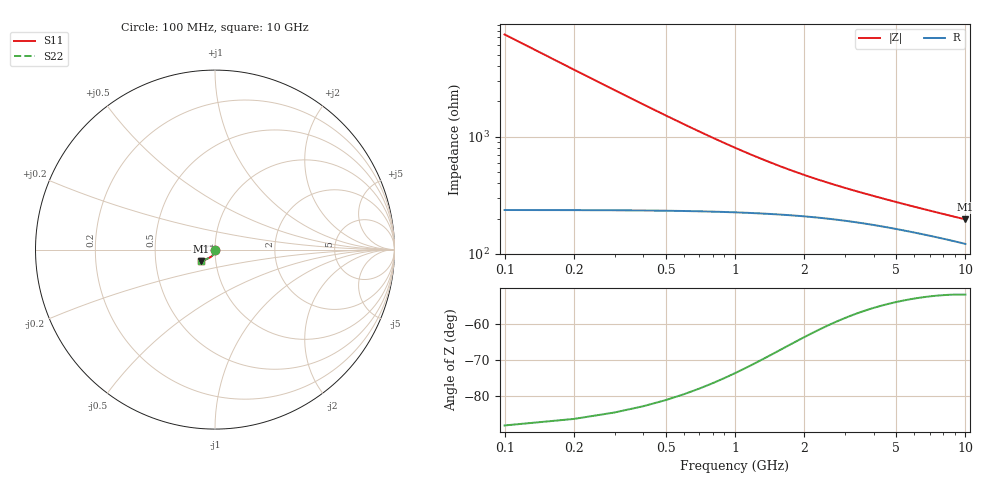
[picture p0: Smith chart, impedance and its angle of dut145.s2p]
! Touchstone file exported from HFSS 2024.1.0
!  File:  C:/UserFiles/LocalFiles/RDL_TSV_Batchsim/temp_TSV1_145_1778765710.aedt
!  Generated:  09:40:19 PM May 14, 2026
!  Design:  TSV1
!  Project:  temp_TSV1_145_1778765710
!  Setup:  Setup1
!  Solution:  Sweep
! Variables:
!  dtsv = 23.4um
!  hbump = 3um
!  htsv = 75.7um
!  lrdl = 252.1521522um
!  p = 40
!  p1 = 54.37um
!  t = 500um
!  trdl = 3um
!  wrdl = 24.89489489um
# GHz S MA R 50.000000
! Terminal data exported
! Port[1] = TSV22_T1
! Port[2] = TSV22_T2
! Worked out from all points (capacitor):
!   100 points, 100 MHz to 10 GHz, reference 50 ohm
!   read as one part in shunt: C = 214 fF near 100 MHz
!   lowest |Z| = 197 ohm at 10 GHz (marker M1)
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0.1  0.003105 -90.7  0.9998 -0.2  0.9998 -0.2  0.003105 -90.7
! Gamma 0 0 0 0
! Port Impedance 50 0 50 0
0.2  0.006193 -93.5  0.9995 -0.4  0.9995 -0.4  0.006193 -93.5
0.3  0.009248 -95.7  0.9989 -0.6  0.9989 -0.6  0.009248 -95.7
0.4  0.01225 -97.8  0.9981 -0.8  0.9981 -0.8  0.01225 -97.8
0.5  0.0152 -99.8  0.9971 -1.0  0.9971 -1.0  0.0152 -99.8
0.6  0.01807 -101.7  0.996 -1.2  0.996 -1.2  0.01807 -101.7
0.7  0.02085 -103.5  0.9948 -1.4  0.9948 -1.4  0.02085 -103.5
0.8  0.02354 -105.3  0.9935 -1.5  0.9935 -1.5  0.02354 -105.3
0.9  0.02612 -107.0  0.992 -1.7  0.992 -1.7  0.02612 -107.0
1.1  0.03099 -110.2  0.9891 -2.0  0.9891 -2.0  0.03099 -110.2
1.4  0.0375 -114.4  0.9845 -2.3  0.9845 -2.3  0.0375 -114.4
1.6  0.04136 -116.8  0.9814 -2.5  0.9814 -2.5  0.04136 -116.8
1.8  0.04487 -118.9  0.9785 -2.7  0.9785 -2.7  0.04487 -118.9
2.1  0.04957 -121.7  0.9743 -3.0  0.9743 -3.0  0.04957 -121.7
2.5  0.05499 -124.7  0.9692 -3.3  0.9692 -3.3  0.05499 -124.7
2.9  0.05967 -127.1  0.9647 -3.5  0.9647 -3.5  0.05967 -127.1
3.4  0.06477 -129.4  0.9597 -3.8  0.9597 -3.8  0.06477 -129.4
4.2  0.07175 -132.2  0.9529 -4.2  0.9529 -4.2  0.07175 -132.2
5.1  0.07843 -134.4  0.9466 -4.6  0.9466 -4.6  0.07843 -134.4
6.7  0.08823 -137.1  0.9373 -5.2  0.9373 -5.2  0.08823 -137.1
8.4  0.09668 -138.9  0.9296 -5.9  0.9296 -5.9  0.09668 -138.9
10  0.1034 -140.1  0.9237 -6.4  0.9237 -6.4  0.1034 -140.1
